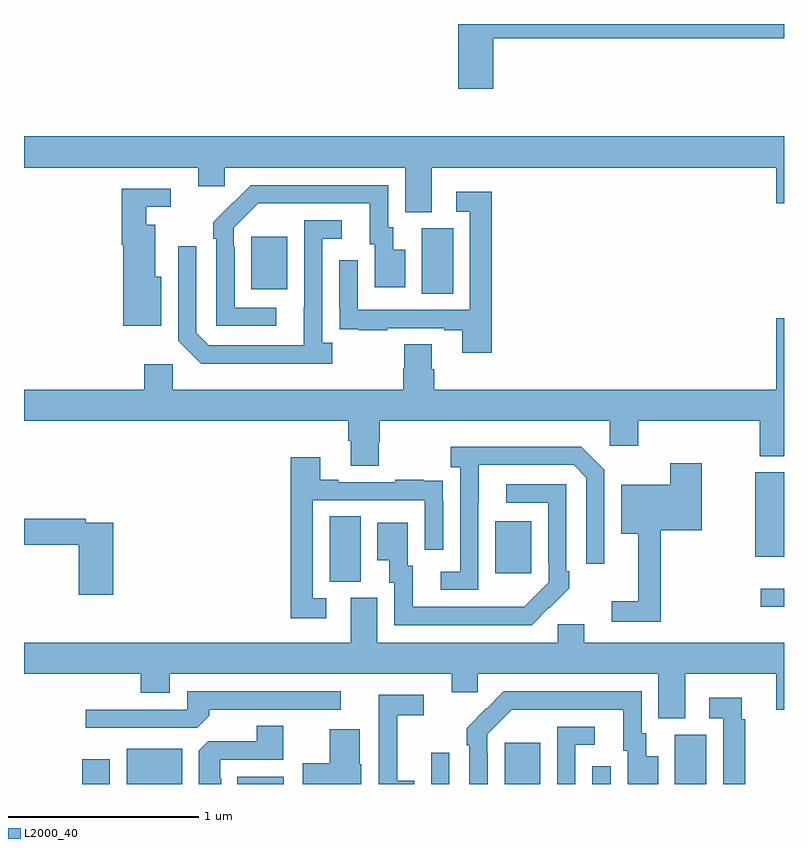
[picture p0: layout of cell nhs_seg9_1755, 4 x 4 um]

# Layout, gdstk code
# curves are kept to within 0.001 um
import gdstk
lib = gdstk.Library(unit=1e-6, precision=1e-09)
def R(c, l, rs):  # rectangles x0, y0, x1, y1
    for r in rs: c.add(gdstk.rectangle(r[:2], r[2:], *l))
def P(c, l, *ps):  # polygons
    for p in ps: c.add(gdstk.Polygon(p, *l))
L2000_40 = (2000, 40)

nhs_seg9_1755 = lib.new_cell('nhs_seg9_1755')
R(nhs_seg9_1755, L2000_40, [(209.306,1202.5,209.452,1202.629), (209.54,1202.5,209.833,1202.686), (210.122,1202.5,210.367,1202.539), (211.143,1202.5,211.239,1202.665), (211.529,1202.5,211.717,1202.716), (211.992,1202.5,212.088,1202.593), (212.426,1202.5,212.59,1202.76), (212.877,1203.432,213,1203.528), (210.608,1203.565,210.772,1203.908), (211.481,1203.609,211.669,1203.883), (212.849,1203.696,213,1204.14), (211.094,1205.08,211.258,1205.424), (210.197,1205.105,210.385,1205.38)])
P(nhs_seg9_1755, L2000_40, [(211.469,1206.424),(213,1206.424),(213,1206.5),(211.286,1206.5),(211.286,1206.159),(211.469,1206.159)],
  [(211.147,1205.744),(212.96,1205.744),(212.96,1205.556),(213,1205.556),(213,1205.908),(209,1205.908),(209,1205.744),(209.918,1205.744),(209.918,1205.646),(210.057,1205.646),(210.057,1205.744),(211.007,1205.744),(211.007,1205.509),(211.147,1205.509)],
  [(210.328,1205.007),(210.108,1205.007),(210.108,1205.327),(210.105,1205.327),(210.105,1205.427),(210.234,1205.556),(210.821,1205.556),(210.821,1205.34),(210.845,1205.34),(210.845,1205.115),(211.006,1205.115),(211.006,1205.311),(210.943,1205.311),(210.943,1205.43),(210.918,1205.43),(210.918,1205.652),(210.194,1205.652),(209.997,1205.457),(209.997,1205.369),(210.012,1205.369),(210.012,1204.911),(210.328,1204.911)],
  [(209.722,1205.17),(209.692,1205.17),(209.692,1205.443),(209.644,1205.443),(209.644,1205.538),(209.773,1205.538),(209.773,1205.634),(209.515,1205.634),(209.515,1205.339),(209.522,1205.339),(209.522,1204.913),(209.722,1204.913)],
  [(211.463,1205.617),(211.275,1205.617),(211.275,1205.511),(211.347,1205.511),(211.347,1204.995),(210.756,1204.995),(210.756,1205.257),(210.66,1205.257),(210.66,1205.002),(210.661,1205.002),(210.661,1204.893),(210.763,1204.893),(210.763,1204.887),(210.911,1204.887),(210.911,1204.899),(211.211,1204.899),(211.211,1204.887),(211.307,1204.887),(211.307,1204.77),(211.463,1204.77)],
  [(210.622,1204.822),(210.57,1204.822),(210.57,1205.37),(210.673,1205.37),(210.673,1205.466),(210.474,1205.466),(210.473,1204.809),(209.973,1204.809),(209.907,1204.875),(209.907,1205.329),(209.811,1205.329),(209.811,1204.833),(209.932,1204.712),(210.622,1204.712)],
  [(210.867,1204.299),(210.872,1204.299),(210.872,1204.412),(212.082,1204.412),(212.082,1204.281),(212.234,1204.281),(212.234,1204.412),(212.873,1204.412),(212.873,1204.225),(213,1204.225),(213,1204.951),(212.96,1204.951),(212.96,1204.576),(211.16,1204.576),(211.16,1204.682),(211.147,1204.682),(211.147,1204.814),(211,1204.814),(211,1204.689),(210.995,1204.689),(210.995,1204.576),(209.784,1204.576),(209.784,1204.708),(209.633,1204.708),(209.633,1204.576),(209,1204.576),(209,1204.412),(210.707,1204.412),(210.707,1204.306),(210.719,1204.306),(210.719,1204.174),(210.867,1204.174)],
  [(211.392,1203.979),(211.393,1204.179),(211.893,1204.179),(211.959,1204.113),(211.959,1203.66),(212.055,1203.66),(212.055,1204.155),(211.934,1204.276),(211.245,1204.276),(211.245,1204.166),(211.296,1204.166),(211.296,1203.618),(211.194,1203.618),(211.194,1203.522),(211.392,1203.522)],
  [(210.592,1203.477),(210.519,1203.477),(210.519,1203.993),(211.11,1203.993),(211.11,1203.732),(211.206,1203.732),(211.206,1203.986),(211.205,1203.986),(211.205,1204.095),(211.103,1204.095),(211.103,1204.102),(210.955,1204.102),(210.955,1204.089),(210.655,1204.089),(210.655,1204.102),(210.559,1204.102),(210.559,1204.219),(210.403,1204.219),(210.403,1203.372),(210.592,1203.372)],
  [(212.351,1203.836),(212.566,1203.836),(212.566,1204.189),(212.401,1204.189),(212.401,1204.075),(212.144,1204.075),(212.144,1203.818),(212.234,1203.818),(212.234,1203.463),(212.094,1203.463),(212.094,1203.354),(212.351,1203.354)],
  [(211.763,1203.427),(211.764,1203.426),(211.869,1203.531),(211.869,1203.619),(211.854,1203.619),(211.854,1204.077),(211.539,1204.077),(211.539,1203.981),(211.758,1203.981),(211.758,1203.661),(211.761,1203.661),(211.761,1203.561),(211.633,1203.433),(211.045,1203.432),(211.045,1203.648),(211.021,1203.648),(211.021,1203.874),(210.86,1203.874),(210.86,1203.677),(210.923,1203.677),(210.923,1203.558),(210.948,1203.558),(210.948,1203.336),(211.672,1203.336)],
  [(209.471,1203.876),(209.324,1203.876),(209.324,1203.896),(209,1203.896),(209,1203.76),(209.288,1203.76),(209.288,1203.495),(209.471,1203.495)],
  [(212.479,1203.08),(212.96,1203.08),(212.96,1202.892),(213,1202.892),(213,1203.244),(211.948,1203.244),(211.948,1203.342),(211.809,1203.342),(211.809,1203.244),(210.859,1203.244),(210.859,1203.48),(210.719,1203.48),(210.719,1203.244),(209,1203.244),(209,1203.08),(209.615,1203.08),(209.615,1202.981),(209.767,1202.981),(209.767,1203.08),(211.25,1203.08),(211.25,1202.982),(211.389,1202.982),(211.389,1203.08),(212.339,1203.08),(212.339,1202.845),(212.479,1202.845)],
  [(209.975,1202.858),(209.975,1202.892),(210.667,1202.892),(210.667,1202.988),(209.859,1202.988),(209.859,1202.892),(209.325,1202.892),(209.325,1202.796),(209.913,1202.796)],
  [(211.44,1202.663),(211.437,1202.663),(211.437,1202.763),(211.566,1202.892),(212.153,1202.892),(212.153,1202.676),(212.177,1202.676),(212.177,1202.5),(212.338,1202.5),(212.338,1202.647),(212.275,1202.647),(212.275,1202.766),(212.25,1202.766),(212.25,1202.988),(211.526,1202.988),(211.329,1202.793),(211.329,1202.705),(211.344,1202.705),(211.344,1202.5),(211.44,1202.5)],
  [(211.054,1202.518),(210.965,1202.518),(210.965,1202.862),(211.105,1202.862),(211.105,1202.97),(210.867,1202.97),(210.867,1202.5),(211.054,1202.5)],
  [(212.795,1202.84),(212.777,1202.84),(212.777,1202.953),(212.607,1202.953),(212.607,1202.847),(212.679,1202.847),(212.679,1202.5),(212.795,1202.5)],
  [(210.037,1202.531),(210.033,1202.531),(210.033,1202.628),(210.364,1202.628),(210.364,1202.807),(210.224,1202.807),(210.224,1202.724),(209.97,1202.724),(209.921,1202.675),(209.921,1202.5),(210.037,1202.5)],
  [(211.902,1202.706),(212.005,1202.706),(212.005,1202.802),(211.806,1202.802),(211.806,1202.5),(211.902,1202.5)],
  [(210.775,1202.604),(210.766,1202.604),(210.766,1202.788),(210.608,1202.788),(210.608,1202.608),(210.468,1202.608),(210.468,1202.5),(210.775,1202.5)])

lib.write_gds('nhs_seg9_1755.gds')
